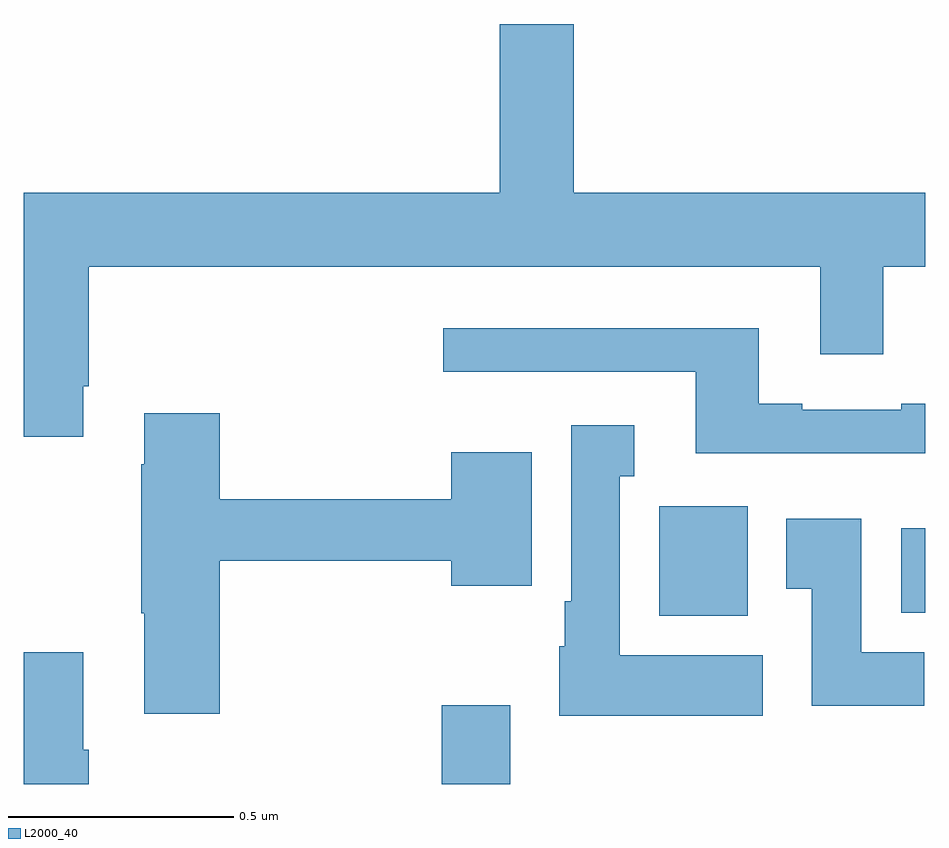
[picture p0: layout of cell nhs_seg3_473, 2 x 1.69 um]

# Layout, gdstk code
import gdstk
lib = gdstk.Library(unit=1e-6, precision=1e-09)
def R(c, l, rs):  # rectangles x0, y0, x1, y1
    for r in rs: c.add(gdstk.rectangle(r[:2], r[2:], *l))
def P(c, l, *ps):  # polygons
    for p in ps: c.add(gdstk.Polygon(p, *l))
L2000_40 = (2000, 40)

nhs_seg3_473 = lib.new_cell('nhs_seg3_473')
R(nhs_seg3_473, L2000_40, [(116.927,734.4,117.079,734.575), (117.41,734.774,117.607,735.016), (117.947,734.78,118,734.968)])
P(nhs_seg3_473, L2000_40, [(116.131,735.283),(116.144,735.283),(116.144,735.548),(117.767,735.548),(117.767,735.354),(117.907,735.354),(117.907,735.548),(118,735.548),(118,735.712),(117.22,735.712),(117.22,736.087),(117.056,736.087),(117.056,735.712),(116,735.712),(116,735.171),(116.131,735.171)],
  [(118,735.244),(117.947,735.244),(117.947,735.231),(117.727,735.231),(117.727,735.244),(117.631,735.244),(117.631,735.412),(116.931,735.412),(116.931,735.315),(117.491,735.315),(117.491,735.134),(118,735.134)],
  [(116.435,734.896),(116.948,734.896),(116.948,734.84),(117.127,734.84),(117.127,735.136),(116.948,735.136),(116.948,735.032),(116.435,735.032),(116.435,735.223),(116.267,735.223),(116.267,735.11),(116.26,735.11),(116.26,734.779),(116.267,734.779),(116.267,734.556),(116.435,734.556)],
  [(117.64,734.686),(117.322,734.686),(117.322,735.083),(117.355,735.083),(117.355,735.196),(117.215,735.196),(117.215,734.806),(117.2,734.806),(117.2,734.706),(117.188,734.706),(117.188,734.552),(117.64,734.552)],
  [(117.998,734.692),(117.859,734.692),(117.859,734.989),(117.692,734.989),(117.692,734.833),(117.749,734.833),(117.749,734.574),(117.998,734.574)],
  [(116.144,734.476),(116.131,734.476),(116.131,734.692),(116,734.692),(116,734.4),(116.144,734.4)])

lib.write_gds('nhs_seg3_473.gds')
